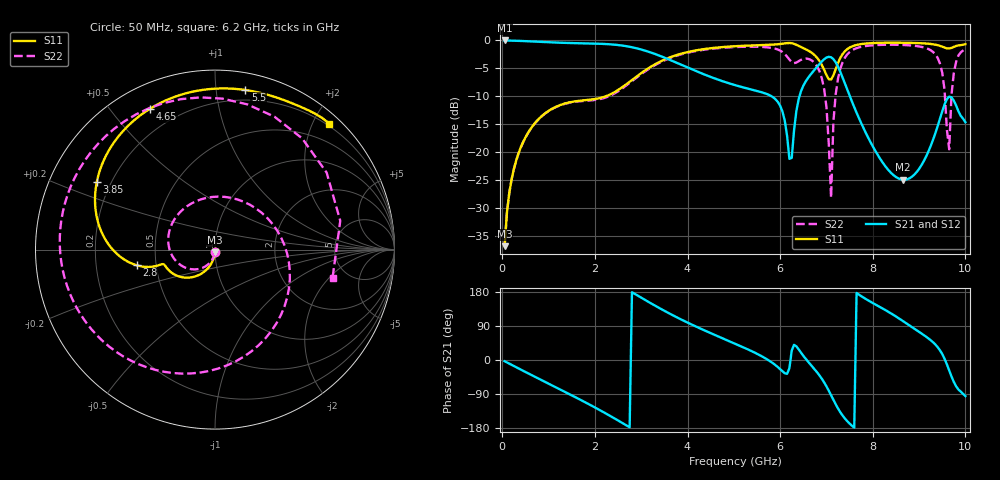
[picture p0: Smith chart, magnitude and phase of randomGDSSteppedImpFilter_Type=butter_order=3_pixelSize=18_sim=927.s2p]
! freq	dB(S11)	phase(S11)	dB(S12)	phase(S12)
!  dB(S21)	phase(S21)	dB(S22)	phase(S22)
!S-par simulation data
#  GHz  S  DB  R 50
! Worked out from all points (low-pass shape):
!   200 points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, 50 MHz to 10 GHz, reference 50 ohm
!   highest |S21| = -0.01 dB at 50 MHz (marker M1); lowest = -24.9 dB at 8.65 GHz (marker M2)
!   |S21| within 3 dB of the highest: start of sweep to 3.48 GHz; 7.022 GHz to 7.097 GHz (74.81 MHz wide, 1.06 % of centre)
!   lowest |S11| = -36.8 dB at 50 MHz (marker M3), VSWR 1.03, Z = 49.9 - j1.45 ohm
!   |S11| at or under -10 dB: start of sweep to 2.23 GHz
!   |S22| runs from -36.8 to -0.8 dB; largest |S21 - S12| = 0
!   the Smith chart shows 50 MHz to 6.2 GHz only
!   S11 on the Smith chart (normalised r, x): 50 MHz: 1.00, -0.03; 2.8 GHz: 0.39, -0.09; 3.85 GHz: 0.15, +0.26; 4.65 GHz: 0.10, +0.64; 5.5 GHz: 0.12, +1.20; 6.2 GHz: 0.16, +2.25
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0.05  -36.78 -92.5  -0.01 -3.2  -0.01 -3.2  -36.79 -93.7
0.5  -17.34 -115.8  -0.13 -31.6  -0.13 -31.6  -17.36 -128.3
1.75  -10.72 -161.6  -0.52 -109.0  -0.52 -109.0  -10.83 122.7
2.8  -7.06 -168.6  -1.22 178.9  -1.22 178.9  -7.28 -15.7
3.4  -3.82 170.6  -2.74 136.5  -2.74 136.5  -3.97 -79.6
3.85  -2.40 150.4  -4.30 107.6  -4.30 107.6  -2.52 -116.5
4.65  -1.27 114.8  -6.99 62.9  -6.99 62.9  -1.39 -169.3
5.05  -1.02 97.8  -8.05 41.8  -8.05 41.8  -1.17 166.0
5.5  -0.87 79.2  -9.03 16.5  -9.03 16.5  -1.13 134.0
5.95  -0.68 60.7  -11.00 -18.8  -11.00 -18.8  -1.63 77.4
6.2  -0.46 47.8  -21.18 -21.2  -21.18 -21.2  -3.43 -13.6
6.45  -1.17 32.9  -9.09 19.4  -9.09 19.4  -3.47 -155.5
6.7  -2.32 20.9  -5.67 -18.1  -5.67 -18.1  -3.68 137.9
6.95  -5.25 13.2  -3.36 -59.1  -3.36 -59.1  -8.71 84.9
7.1  -6.99 32.0  -3.01 -93.0  -3.01 -93.0  -28.12 -96.0
7.2  -5.10 43.6  -3.92 -117.0  -3.92 -117.0  -9.58 -152.3
7.35  -2.42 38.8  -6.66 -146.9  -6.66 -146.9  -3.86 173.4
8.35  -0.41 -11.0  -23.29 126.2  -23.29 126.2  -0.77 81.0
8.65  -0.42 -21.7  -24.90 102.9  -24.90 102.9  -0.81 62.6
9.3  -0.68 -43.8  -17.80 47.0  -17.80 47.0  -2.05 13.8
9.65  -1.45 -50.4  -10.05 -27.6  -10.05 -27.6  -19.46 80.5
10  -0.68 -58.1  -14.62 -95.3  -14.62 -95.3  -1.53 34.1
